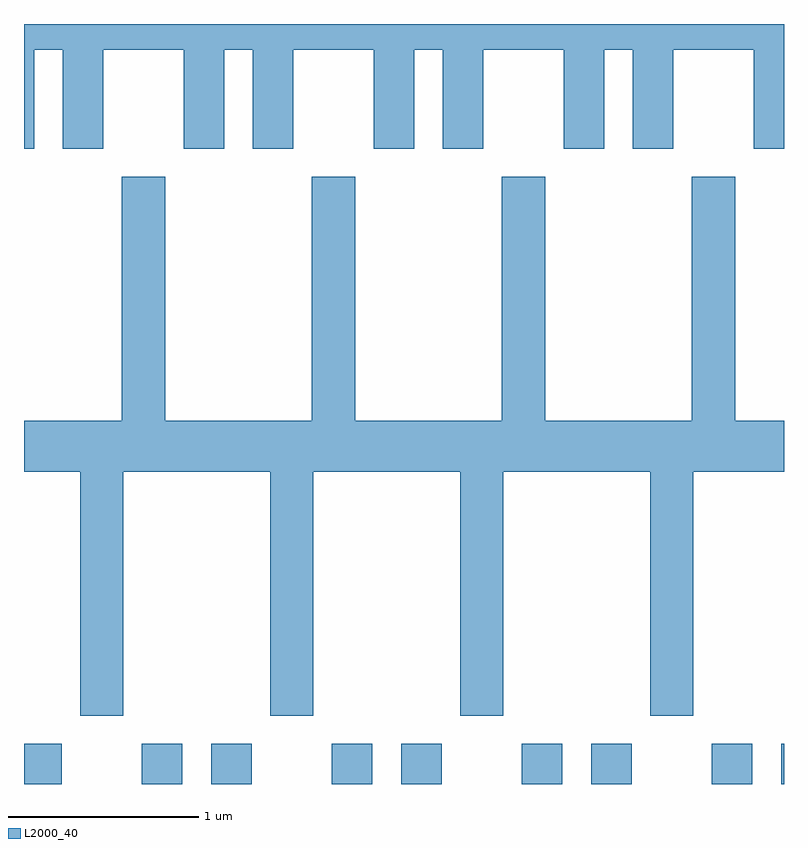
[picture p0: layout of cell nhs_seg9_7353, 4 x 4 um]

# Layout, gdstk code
import gdstk
lib = gdstk.Library(unit=1e-6, precision=1e-09)
def R(c, l, rs):  # rectangles x0, y0, x1, y1
    for r in rs: c.add(gdstk.rectangle(r[:2], r[2:], *l))
def P(c, l, *ps):  # polygons
    for p in ps: c.add(gdstk.Polygon(p, *l))
L2000_40 = (2000, 40)

nhs_seg9_7353 = lib.new_cell('nhs_seg9_7353')
R(nhs_seg9_7353, L2000_40, [(403.611,1952.432,403.809,1952.644), (404.231,1952.432,404.444,1952.644), (404.596,1952.432,404.809,1952.644), (405.231,1952.432,405.444,1952.644), (405.596,1952.432,405.809,1952.644), (406.231,1952.432,406.444,1952.644), (406.596,1952.432,406.809,1952.644), (407.231,1952.432,407.444,1952.644), (407.596,1952.432,407.611,1952.644)])
P(nhs_seg9_7353, L2000_40, [(403.664,1956.296),(403.816,1956.296),(403.816,1955.776),(404.029,1955.776),(404.029,1956.296),(404.451,1956.296),(404.451,1955.776),(404.664,1955.776),(404.664,1956.296),(404.816,1956.296),(404.816,1955.776),(405.029,1955.776),(405.029,1956.296),(405.451,1956.296),(405.451,1955.776),(405.664,1955.776),(405.664,1956.296),(405.816,1956.296),(405.816,1955.776),(406.029,1955.776),(406.029,1956.296),(406.451,1956.296),(406.451,1955.776),(406.664,1955.776),(406.664,1956.296),(406.816,1956.296),(406.816,1955.776),(407.029,1955.776),(407.029,1956.296),(407.451,1956.296),(407.451,1955.776),(407.611,1955.776),(407.611,1956.432),(403.611,1956.432),(403.611,1955.776),(403.664,1955.776)],
  [(405.126,1954.344),(404.354,1954.344),(404.354,1955.629),(404.126,1955.629),(404.126,1954.344),(403.611,1954.344),(403.611,1954.076),(403.906,1954.076),(403.906,1952.791),(404.134,1952.791),(404.134,1954.076),(404.906,1954.076),(404.906,1952.791),(405.134,1952.791),(405.134,1954.076),(405.906,1954.076),(405.906,1952.791),(406.134,1952.791),(406.134,1954.076),(406.906,1954.076),(406.906,1952.791),(407.134,1952.791),(407.134,1954.076),(407.611,1954.076),(407.611,1954.344),(407.354,1954.344),(407.354,1955.629),(407.126,1955.629),(407.126,1954.344),(406.354,1954.344),(406.354,1955.629),(406.126,1955.629),(406.126,1954.344),(405.354,1954.344),(405.354,1955.629),(405.126,1955.629)])

lib.write_gds('nhs_seg9_7353.gds')
